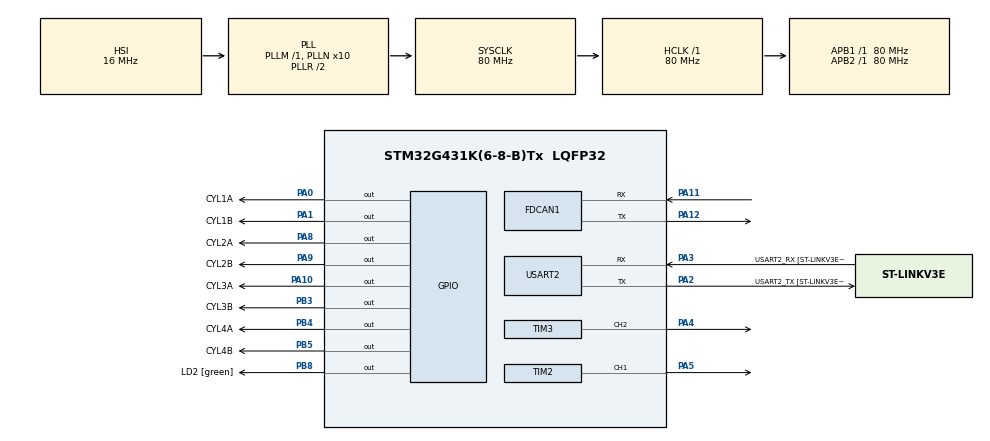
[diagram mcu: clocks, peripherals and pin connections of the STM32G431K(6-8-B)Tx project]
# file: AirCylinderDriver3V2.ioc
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FDCAN1.CalculateBaudRateNominal=1000000
FDCAN1.CalculateTimeBitNominal=1000
FDCAN1.CalculateTimeQuantumNominal=62.5
FDCAN1.DataPrescaler=1
FDCAN1.DataSyncJumpWidth=4
FDCAN1.DataTimeSeg1=5
FDCAN1.DataTimeSeg2=4
FDCAN1.NominalPrescaler=5
FDCAN1.NominalSyncJumpWidth=16
FDCAN1.NominalTimeSeg1=13
FDCAN1.StdFiltersNbr=1
Mcu.Family=STM32G4
Mcu.Name=STM32G431K(6-8-B)Tx
Mcu.Package=LQFP32
NVIC.FDCAN1_IT0_IRQn=true\:0\:0\:false\:false\:true\:true\:true\:true
NVIC.FDCAN1_IT1_IRQn=true\:0\:0\:false\:false\:true\:true\:true\:true
NVIC.PriorityGroup=NVIC_PRIORITYGROUP_4
PA0.GPIO_Label=CYL1A
PA0.Signal=GPIO_Output
PA1.GPIO_Label=CYL1B
PA1.Signal=GPIO_Output
PA10.GPIO_Label=CYL3A
PA10.Signal=GPIO_Output
PA11.Mode=FDCAN_Activate
PA11.Signal=FDCAN1_RX
PA12.Mode=FDCAN_Activate
PA12.Signal=FDCAN1_TX
PA13.GPIO_Label=T_SWDIO
PA13.Mode=Serial_Wire
PA13.Signal=SYS_JTMS-SWDIO
PA14.GPIO_Label=T_SWCLK
PA14.Mode=Serial_Wire
PA14.Signal=SYS_JTCK-SWCLK
PA2.GPIO_Label=USART2_TX [ST-LINKV3E_VCP_RX]
PA2.Mode=Asynchronous
PA2.Signal=USART2_TX
PA3.GPIO_Label=USART2_RX [ST-LINKV3E_VCP_TX]
PA3.Mode=Asynchronous
PA3.Signal=USART2_RX
PA4.Signal=S_TIM3_CH2
PA5.Signal=S_TIM2_CH1
PA8.GPIO_Label=CYL2A
PA8.Signal=GPIO_Output
PA9.GPIO_Label=CYL2B
PA9.Signal=GPIO_Output
PB3.GPIO_Label=CYL3B
PB3.Signal=GPIO_Output
PB4.GPIO_Label=CYL4A
PB4.Signal=GPIO_Output
PB5.GPIO_Label=CYL4B
PB5.Signal=GPIO_Output
PB8-BOOT0.GPIO_Label=LD2 [green]
PB8-BOOT0.Signal=GPIO_Output
ProjectManager.HeapSize=0x200
ProjectManager.StackSize=0x400
ProjectManager.TargetToolchain=STM32CubeIDE
RCC.ADC12Freq_Value=80000000
RCC.AHBFreq_Value=80000000
RCC.APB1Freq_Value=80000000
RCC.APB1TimFreq_Value=80000000
RCC.APB2Freq_Value=80000000
RCC.APB2TimFreq_Value=80000000
RCC.CortexFreq_Value=80000000
RCC.EXTERNAL_CLOCK_VALUE=12288000
RCC.HCLKFreq_Value=80000000
RCC.HSE_VALUE=8000000
RCC.HSI48_VALUE=48000000
RCC.HSI_VALUE=16000000
RCC.LSE_VALUE=32768
RCC.PLLN=10
RCC.SYSCLKFreq_VALUE=80000000
RCC.SYSCLKSource=RCC_SYSCLKSOURCE_PLLCLK
RCC.USBFreq_Value=80000000
RCC.VCOOutputFreq_Value=160000000
SH.S_TIM2_CH1.0=TIM2_CH1,PWM Generation1 CH1
SH.S_TIM3_CH2.0=TIM3_CH2,PWM Generation2 CH2
TIM2.Channel-PWM\ Generation1\ CH1=TIM_CHANNEL_1
TIM2.OC1Preload_PWM=DISABLE
TIM2.PeriodNoDither=19999
TIM2.Prescaler=79
TIM3.Channel-PWM\ Generation2\ CH2=TIM_CHANNEL_2
TIM3.OC2Preload_PWM=DISABLE
TIM3.PeriodNoDither=19999
TIM3.Prescaler=79
USART2.VirtualMode-Asynchronous=VM_ASYNC
USART2.WordLength=WORDLENGTH_8B
board=NUCLEO-G431KB

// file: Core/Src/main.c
/* USER CODE BEGIN Header */
/**
  ******************************************************************************
  * @file           : main.c
  * @brief          : Main program body
  ******************************************************************************
  * @attention
  *
  * Copyright (c) 2023 STMicroelectronics.
  * All rights reserved.
  *
  * This software is licensed under terms that can be found in the LICENSE file
  * in the root directory of this software component.
  * If no LICENSE file comes with this software, it is provided AS-IS.
  *
  ******************************************************************************
  */
/* USER CODE END Header */
#include "main.h"

/* USER CODE BEGIN Includes */
#include <stdio.h>
/* USER CODE END Includes */

/* USER CODE BEGIN PD */
#define CANID_FSTCYL 0x118
#define DELAYMS 500
/* USER CODE END PD */

FDCAN_HandleTypeDef hfdcan1;

TIM_HandleTypeDef htim2;
TIM_HandleTypeDef htim3;

UART_HandleTypeDef huart2;

/* USER CODE BEGIN PV */
GPIO_TypeDef *GPIOs[8] = {CYL1A_GPIO_Port, CYL1B_GPIO_Port, CYL2A_GPIO_Port, CYL2B_GPIO_Port, CYL3A_GPIO_Port, CYL3B_GPIO_Port, CYL4A_GPIO_Port, CYL4B_GPIO_Port};
uint16_t GPIOPins[8] = {CYL1A_Pin, CYL1B_Pin, CYL2A_Pin, CYL2B_Pin, CYL3A_Pin, CYL3B_Pin, CYL4A_Pin, CYL4B_Pin};
uint8_t CylFlag[7] = {};

/* USER CODE END PV */

void SystemClock_Config(void);
static void MX_GPIO_Init(void);
static void MX_USART2_UART_Init(void);
static void MX_FDCAN1_Init(void);
static void MX_TIM2_Init(void);
static void MX_TIM3_Init(void);

/* USER CODE BEGIN 0 */
int _write(int file, char *ptr, int len)
{
	HAL_UART_Transmit(&huart2, (uint8_t *)ptr, len, 10);
	return len;
}

void CylN(uint8_t CylID){
	printf("N\r\n");
	if(CylID < 4){
		HAL_GPIO_WritePin(GPIOs[CylID*2], GPIOPins[CylID*2], GPIO_PIN_RESET);
		HAL_GPIO_WritePin(GPIOs[CylID*2+1], GPIOPins[CylID*2+1], GPIO_PIN_RESET);
	}
}

void CylPush(uint8_t CylID){
	printf("Push\r\n");
	if(CylID < 4){
		HAL_GPIO_WritePin(GPIOs[CylID*2], GPIOPins[CylID*2], GPIO_PIN_SET);
		HAL_GPIO_WritePin(GPIOs[CylID*2+1], GPIOPins[CylID*2+1], GPIO_PIN_RESET);
	}
}

void CylPull(uint8_t CylID){
	printf("Move B\r\n");
	if(CylID < 4){
		HAL_GPIO_WritePin(GPIOs[CylID*2], GPIOPins[CylID*2], GPIO_PIN_RESET);
		HAL_GPIO_WritePin(GPIOs[CylID*2+1], GPIOPins[CylID*2+1], GPIO_PIN_SET);
	}
}

void CylThrow(uint8_t CylID){
	printf("Throw\r\n");
	if(CylID < 4){
		CylPush(CylID);
		HAL_Delay(DELAYMS);
		CylPull(CylID);
		//HAL_Delay(DELAYMS);
		//CylN(CylID);
		CylFlag[CylID]=2;
	}
}

void CylRThrow(uint8_t CylID){
	printf("Throw\r\n");
	CylPull(CylID);
	HAL_Delay(DELAYMS);
	CylPush(CylID);
	//HAL_Delay(DELAYMS);
	//CylN(CylID);
	CylFlag[CylID]=2;
}

void CylStop(uint8_t CylID){
	HAL_GPIO_WritePin(GPIOs[CylID*2], GPIOPins[CylID*2], GPIO_PIN_SET);
	HAL_GPIO_WritePin(GPIOs[CylID*2+1], GPIOPins[CylID*2+1], GPIO_PIN_SET);
}

void CylDrive1(uint8_t CylID){
	printf("exception1\r\n");
	switch(CylID){
	case 3:
		HAL_GPIO_WritePin(GPIOs[6], GPIOPins[6], GPIO_PIN_RESET);
		break;
	case 4:
		HAL_GPIO_WritePin(GPIOs[7], GPIOPins[7], GPIO_PIN_RESET);
		break;
	case 5:
		__HAL_TIM_SET_COMPARE(&htim3, TIM_CHANNEL_2, 2000);
		break;
	case 6:
		__HAL_TIM_SET_COMPARE(&htim2, TIM_CHANNEL_1, 1800);
		break;
	}
}
void CylDrive2(uint8_t CylID){
	printf("exception2\r\n");
	switch(CylID){
	case 3:
		HAL_GPIO_WritePin(GPIOs[6], GPIOPins[6], GPIO_PIN_SET);
		break;
	case 4:
		HAL_GPIO_WritePin(GPIOs[7], GPIOPins[7], GPIO_PIN_SET);
		break;
	case 5:
		__HAL_TIM_SET_COMPARE(&htim3, TIM_CHANNEL_2, 1000);
		break;
	case 6:
		__HAL_TIM_SET_COMPARE(&htim2, TIM_CHANNEL_1, 1000);
		break;
	}
}

/* USER CODE END 0 */

int main(void)
{

  /* MCU Configuration--------------------------------------------------------*/

  /* Reset of all peripherals, Initializes the Flash interface and the Systick. */
  HAL_Init();

  /* Configure the system clock */
  SystemClock_Config();

  /* Initialize all configured peripherals */
  MX_GPIO_Init();
  MX_USART2_UART_Init();
  MX_FDCAN1_Init();
  MX_TIM2_Init();
  MX_TIM3_Init();

  /* Infinite loop */
  /* USER CODE BEGIN WHILE */
  while (1)
  {
	  for(uint8_t i=0; i<7; i++){

		  switch(CylFlag[i]){

		  		case 0:
		  			CylN(i);
		  			break;

		  		case 1:
		  			CylPush(i);
		  			break;

		  		case 2:
		  			CylPull(i);
		  			break;

		  		case 3:
		  			CylThrow(i);
		  			break;

		  		case 4:
		  			CylRThrow(i);
		  			break;
		  		case 5:
		  			break;
		  		case 6:
		  			CylDrive1(i);
		  			break;
		  		case 7:
		  			CylDrive2(i);
		  			break;
		  		}

	  }

	  HAL_Delay(15);
    /* USER CODE END WHILE */

  }
}

void SystemClock_Config(void)
{
  RCC_OscInitTypeDef RCC_OscInitStruct = {0};
  RCC_ClkInitTypeDef RCC_ClkInitStruct = {0};

  /** Configure the main internal regulator output voltage
  */
  HAL_PWREx_ControlVoltageScaling(PWR_REGULATOR_VOLTAGE_SCALE1);

  /** Initializes the RCC Oscillators according to the specified parameters
  * in the RCC_OscInitTypeDef structure.
  */
  RCC_OscInitStruct.OscillatorType = RCC_OSCILLATORTYPE_HSI;
  RCC_OscInitStruct.HSIState = RCC_HSI_ON;
  RCC_OscInitStruct.HSICalibrationValue = RCC_HSICALIBRATION_DEFAULT;
  RCC_OscInitStruct.PLL.PLLState = RCC_PLL_ON;
  RCC_OscInitStruct.PLL.PLLSource = RCC_PLLSOURCE_HSI;
  RCC_OscInitStruct.PLL.PLLM = RCC_PLLM_DIV1;
  RCC_OscInitStruct.PLL.PLLN = 10;
  RCC_OscInitStruct.PLL.PLLP = RCC_PLLP_DIV2;
  RCC_OscInitStruct.PLL.PLLQ = RCC_PLLQ_DIV2;
  RCC_OscInitStruct.PLL.PLLR = RCC_PLLR_DIV2;
  if (HAL_RCC_OscConfig(&RCC_OscInitStruct) != HAL_OK)
  {
    Error_Handler();
  }

  /** Initializes the CPU, AHB and APB buses clocks
  */
  RCC_ClkInitStruct.ClockType = RCC_CLOCKTYPE_HCLK|RCC_CLOCKTYPE_SYSCLK
                              |RCC_CLOCKTYPE_PCLK1|RCC_CLOCKTYPE_PCLK2;
  RCC_ClkInitStruct.SYSCLKSource = RCC_SYSCLKSOURCE_PLLCLK;
  RCC_ClkInitStruct.AHBCLKDivider = RCC_SYSCLK_DIV1;
  RCC_ClkInitStruct.APB1CLKDivider = RCC_HCLK_DIV1;
  RCC_ClkInitStruct.APB2CLKDivider = RCC_HCLK_DIV1;

  if (HAL_RCC_ClockConfig(&RCC_ClkInitStruct, FLASH_LATENCY_2) != HAL_OK)
  {
    Error_Handler();
  }
}

static void MX_FDCAN1_Init(void)
{

  hfdcan1.Instance = FDCAN1;
  hfdcan1.Init.ClockDivider = FDCAN_CLOCK_DIV1;
  hfdcan1.Init.FrameFormat = FDCAN_FRAME_CLASSIC;
  hfdcan1.Init.Mode = FDCAN_MODE_NORMAL;
  hfdcan1.Init.AutoRetransmission = DISABLE;
  hfdcan1.Init.TransmitPause = DISABLE;
  hfdcan1.Init.ProtocolException = DISABLE;
  hfdcan1.Init.NominalPrescaler = 5;
  hfdcan1.Init.NominalSyncJumpWidth = 16;
  hfdcan1.Init.NominalTimeSeg1 = 13;
  hfdcan1.Init.NominalTimeSeg2 = 2;
  hfdcan1.Init.DataPrescaler = 1;
  hfdcan1.Init.DataSyncJumpWidth = 4;
  hfdcan1.Init.DataTimeSeg1 = 5;
  hfdcan1.Init.DataTimeSeg2 = 4;
  hfdcan1.Init.StdFiltersNbr = 1;
  hfdcan1.Init.ExtFiltersNbr = 0;
  hfdcan1.Init.TxFifoQueueMode = FDCAN_TX_FIFO_OPERATION;
  if (HAL_FDCAN_Init(&hfdcan1) != HAL_OK)
  {
    Error_Handler();
  }
  /* USER CODE BEGIN FDCAN1_Init 2 */
  FDCAN_FilterTypeDef sFilterConfig;
  	sFilterConfig.IdType = FDCAN_STANDARD_ID;
  	sFilterConfig.FilterIndex = 0;
  	sFilterConfig.FilterType = FDCAN_FILTER_MASK;
  	sFilterConfig.FilterConfig = FDCAN_FILTER_TO_RXFIFO0;
  	sFilterConfig.FilterID1 = CANID_FSTCYL;
  	sFilterConfig.FilterID2 = 0x7F8;

  	if (HAL_FDCAN_ConfigFilter(&hfdcan1, &sFilterConfig) != HAL_OK) {
  		Error_Handler();
  	}
  	if (HAL_FDCAN_ConfigGlobalFilter(&hfdcan1, FDCAN_REJECT, FDCAN_REJECT, FDCAN_FILTER_REMOTE, FDCAN_FILTER_REMOTE) != HAL_OK) {
  		Error_Handler();
  	}

  	if (HAL_FDCAN_Start(&hfdcan1) != HAL_OK) {
  		Error_Handler();
  	}
  	if (HAL_FDCAN_ActivateNotification(&hfdcan1, FDCAN_IT_RX_FIFO0_NEW_MESSAGE, 0) != HAL_OK) {
  	  Error_Handler();
  	}

  /* USER CODE END FDCAN1_Init 2 */

}

static void MX_TIM2_Init(void)
{

  TIM_MasterConfigTypeDef sMasterConfig = {0};
  TIM_OC_InitTypeDef sConfigOC = {0};

  htim2.Instance = TIM2;
  htim2.Init.Prescaler = 79;
  htim2.Init.CounterMode = TIM_COUNTERMODE_UP;
  htim2.Init.Period = 19999;
  htim2.Init.ClockDivision = TIM_CLOCKDIVISION_DIV1;
  htim2.Init.AutoReloadPreload = TIM_AUTORELOAD_PRELOAD_DISABLE;
  if (HAL_TIM_PWM_Init(&htim2) != HAL_OK)
  {
    Error_Handler();
  }
  sMasterConfig.MasterOutputTrigger = TIM_TRGO_RESET;
  sMasterConfig.MasterSlaveMode = TIM_MASTERSLAVEMODE_DISABLE;
  if (HAL_TIMEx_MasterConfigSynchronization(&htim2, &sMasterConfig) != HAL_OK)
  {
    Error_Handler();
  }
  sConfigOC.OCMode = TIM_OCMODE_PWM1;
  sConfigOC.Pulse = 0;
  sConfigOC.OCPolarity = TIM_OCPOLARITY_HIGH;
  sConfigOC.OCFastMode = TIM_OCFAST_DISABLE;
  if (HAL_TIM_PWM_ConfigChannel(&htim2, &sConfigOC, TIM_CHANNEL_1) != HAL_OK)
  {
    Error_Handler();
  }
  __HAL_TIM_DISABLE_OCxPRELOAD(&htim2, TIM_CHANNEL_1);
  /* USER CODE BEGIN TIM2_Init 2 */
  HAL_TIM_PWM_Start(&htim2, TIM_CHANNEL_1);
  /* USER CODE END TIM2_Init 2 */
  HAL_TIM_MspPostInit(&htim2);

}

static void MX_TIM3_Init(void)
{

  TIM_MasterConfigTypeDef sMasterConfig = {0};
  TIM_OC_InitTypeDef sConfigOC = {0};

  htim3.Instance = TIM3;
  htim3.Init.Prescaler = 79;
  htim3.Init.CounterMode = TIM_COUNTERMODE_UP;
  htim3.Init.Period = 19999;
  htim3.Init.ClockDivision = TIM_CLOCKDIVISION_DIV1;
  htim3.Init.AutoReloadPreload = TIM_AUTORELOAD_PRELOAD_DISABLE;
  if (HAL_TIM_PWM_Init(&htim3) != HAL_OK)
  {
    Error_Handler();
  }
  sMasterConfig.MasterOutputTrigger = TIM_TRGO_RESET;
  sMasterConfig.MasterSlaveMode = TIM_MASTERSLAVEMODE_DISABLE;
  if (HAL_TIMEx_MasterConfigSynchronization(&htim3, &sMasterConfig) != HAL_OK)
  {
    Error_Handler();
  }
  sConfigOC.OCMode = TIM_OCMODE_PWM1;
  sConfigOC.Pulse = 0;
  sConfigOC.OCPolarity = TIM_OCPOLARITY_HIGH;
  sConfigOC.OCFastMode = TIM_OCFAST_DISABLE;
  if (HAL_TIM_PWM_ConfigChannel(&htim3, &sConfigOC, TIM_CHANNEL_2) != HAL_OK)
  {
    Error_Handler();
  }
  __HAL_TIM_DISABLE_OCxPRELOAD(&htim3, TIM_CHANNEL_2);
  /* USER CODE BEGIN TIM3_Init 2 */
  HAL_TIM_PWM_Start(&htim3, TIM_CHANNEL_2);
  /* USER CODE END TIM3_Init 2 */
  HAL_TIM_MspPostInit(&htim3);

}

static void MX_USART2_UART_Init(void)
{

  huart2.Instance = USART2;
  huart2.Init.BaudRate = 115200;
  huart2.Init.WordLength = UART_WORDLENGTH_8B;
  huart2.Init.StopBits = UART_STOPBITS_1;
  huart2.Init.Parity = UART_PARITY_NONE;
  huart2.Init.Mode = UART_MODE_TX_RX;
  huart2.Init.HwFlowCtl = UART_HWCONTROL_NONE;
  huart2.Init.OverSampling = UART_OVERSAMPLING_16;
  huart2.Init.OneBitSampling = UART_ONE_BIT_SAMPLE_DISABLE;
  huart2.Init.ClockPrescaler = UART_PRESCALER_DIV1;
  huart2.AdvancedInit.AdvFeatureInit = UART_ADVFEATURE_NO_INIT;
  if (HAL_UART_Init(&huart2) != HAL_OK)
  {
    Error_Handler();
  }
  if (HAL_UARTEx_SetTxFifoThreshold(&huart2, UART_TXFIFO_THRESHOLD_1_8) != HAL_OK)
  {
    Error_Handler();
  }
  if (HAL_UARTEx_SetRxFifoThreshold(&huart2, UART_RXFIFO_THRESHOLD_1_8) != HAL_OK)
  {
    Error_Handler();
  }
  if (HAL_UARTEx_DisableFifoMode(&huart2) != HAL_OK)
  {
    Error_Handler();
  }
  /* USER CODE BEGIN USART2_Init 2 */
  setbuf(stdout, NULL);
  /* USER CODE END USART2_Init 2 */

}

static void MX_GPIO_Init(void)
{
  GPIO_InitTypeDef GPIO_InitStruct = {0};

  /* GPIO Ports Clock Enable */
  __HAL_RCC_GPIOA_CLK_ENABLE();
  __HAL_RCC_GPIOB_CLK_ENABLE();

  /*Configure GPIO pin Output Level */
  HAL_GPIO_WritePin(GPIOA, CYL1A_Pin|CYL1B_Pin|CYL2A_Pin|CYL2B_Pin
                          |CYL3A_Pin, GPIO_PIN_RESET);

  /*Configure GPIO pin Output Level */
  HAL_GPIO_WritePin(GPIOB, CYL3B_Pin|CYL4A_Pin|CYL4B_Pin|LD2_Pin, GPIO_PIN_RESET);

  /*Configure GPIO pins : CYL1A_Pin CYL1B_Pin CYL2A_Pin CYL2B_Pin
                           CYL3A_Pin */
  GPIO_InitStruct.Pin = CYL1A_Pin|CYL1B_Pin|CYL2A_Pin|CYL2B_Pin
                          |CYL3A_Pin;
  GPIO_InitStruct.Mode = GPIO_MODE_OUTPUT_PP;
  GPIO_InitStruct.Pull = GPIO_NOPULL;
  GPIO_InitStruct.Speed = GPIO_SPEED_FREQ_LOW;
  HAL_GPIO_Init(GPIOA, &GPIO_InitStruct);

  /*Configure GPIO pins : CYL3B_Pin CYL4A_Pin CYL4B_Pin LD2_Pin */
  GPIO_InitStruct.Pin = CYL3B_Pin|CYL4A_Pin|CYL4B_Pin|LD2_Pin;
  GPIO_InitStruct.Mode = GPIO_MODE_OUTPUT_PP;
  GPIO_InitStruct.Pull = GPIO_NOPULL;
  GPIO_InitStruct.Speed = GPIO_SPEED_FREQ_LOW;
  HAL_GPIO_Init(GPIOB, &GPIO_InitStruct);

}

/* USER CODE BEGIN 4 */
void HAL_FDCAN_RxFifo0Callback(FDCAN_HandleTypeDef *hfdcan, uint32_t RxFifo0ITs) {
	FDCAN_RxHeaderTypeDef RxHeader;
	uint8_t RxData[1];
	uint8_t CylID;

	if (hfdcan == &hfdcan1) {
		printf("Get message\r\n");
		if (HAL_FDCAN_GetRxMessage(hfdcan, FDCAN_RX_FIFO0, &RxHeader, RxData) != HAL_OK) {
			Error_Handler();
		}
		CylID = RxHeader.Identifier - CANID_FSTCYL;
		CylFlag[CylID] = RxData[0];

		//HAL_GPIO_WritePin(GPIOs[CylID*2], GPIOPins[CylID*2], RxData[0]);

		//printf("Motor%x:%d\r\n", RxHeader.Identifier- 0x201, actMotorVel[MOTOR1]); //index is motorID-201 (0x201 - 0x201 =0)
		//Motor%x:RxHeader.Identifier- 0x201,
	}
}
/* USER CODE END 4 */

void Error_Handler(void)
{
  __disable_irq();
  while (1)
  {
  }
}
